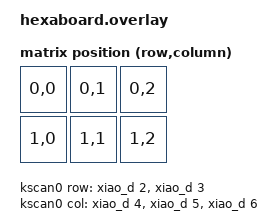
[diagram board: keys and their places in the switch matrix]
/*
 * SPDX-License-Identifier: MIT
 *
 * Device Tree Overlay for a 2x3 keyboard shield.
 */

#include <dt-bindings/zmk/matrix_transform.h>
#include <physical_layouts.dtsi>

/ {
    kscan0: kscan {
        compatible = "zmk,kscan-gpio-matrix";
        label = "KSCAN";
        diode-direction = "col2row";
        row-gpios = <&xiao_d 2 (GPIO_ACTIVE_HIGH | GPIO_PULL_DOWN)>,
                    <&xiao_d 3 (GPIO_ACTIVE_HIGH | GPIO_PULL_DOWN)>;
        col-gpios = <&xiao_d 4 (GPIO_ACTIVE_HIGH)>,
                    <&xiao_d 5 (GPIO_ACTIVE_HIGH)>,
                    <&xiao_d 6 (GPIO_ACTIVE_HIGH)>;
    };

    default_transform: keymap_transform_0 {
        compatible = "zmk,matrix-transform";
        rows = <2>;
        columns = <3>;
        map = <
            RC(0,0) RC(0,1) RC(0,2)
            RC(1,0) RC(1,1) RC(1,2)
        >;
    };

    physical_layout0: physical_layout0 {
        compatible = "zmk,physical-layout";
        display-name = "Hexaboard";

        kscan = <&kscan0>;
        transform = <&default_transform>;

        keys  //                     w   h    x    y     rot    rx    ry
            = <&key_physical_attrs 100 100    0    0       0     0     0>
            , <&key_physical_attrs 100 100  100    0       0     0     0>
            , <&key_physical_attrs 100 100  200    0       0     0     0>
            , <&key_physical_attrs 100 100    0  100       0     0     0>
            , <&key_physical_attrs 100 100  100  100       0     0     0>
            , <&key_physical_attrs 100 100  200  100       0     0     0>
            ;
    };
};
